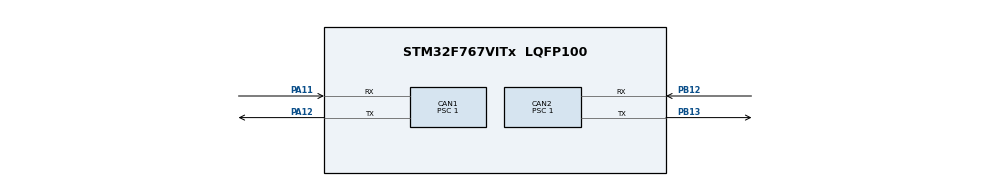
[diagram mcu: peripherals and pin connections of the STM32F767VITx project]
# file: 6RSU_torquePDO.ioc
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CAN1.BS1=CAN_BS1_14TQ
CAN1.CalculateBaudRate=1000000
CAN1.CalculateTimeBit=1000
CAN1.CalculateTimeQuantum=62.5
CAN1.Prescaler=1
CAN2.BS1=CAN_BS1_14TQ
CAN2.CalculateBaudRate=1000000
CAN2.CalculateTimeBit=1000
CAN2.CalculateTimeQuantum=62.5
CAN2.Prescaler=1
Mcu.Family=STM32F7
Mcu.Name=STM32F767VITx
Mcu.Package=LQFP100
NVIC.CAN1_RX0_IRQn=true\:0\:0\:false\:false\:true\:true\:true\:true
NVIC.CAN1_RX1_IRQn=true\:0\:0\:false\:false\:true\:true\:true\:true
NVIC.CAN1_SCE_IRQn=true\:0\:0\:false\:false\:true\:true\:true\:true
NVIC.CAN1_TX_IRQn=true\:0\:0\:false\:false\:true\:true\:true\:true
NVIC.CAN2_RX0_IRQn=true\:0\:0\:false\:false\:true\:true\:true\:true
NVIC.CAN2_RX1_IRQn=true\:0\:0\:false\:false\:true\:true\:true\:true
NVIC.CAN2_SCE_IRQn=true\:0\:0\:false\:false\:true\:true\:true\:true
NVIC.CAN2_TX_IRQn=true\:0\:0\:false\:false\:true\:true\:true\:true
NVIC.PriorityGroup=NVIC_PRIORITYGROUP_4
NVIC.TIM8_TRG_COM_TIM14_IRQn=true\:0\:0\:false\:false\:true\:true\:true\:true
PA11.Mode=CAN_Activate
PA11.Signal=CAN1_RX
PA12.Mode=CAN_Activate
PA12.Signal=CAN1_TX
PA13.Mode=Serial_Wire
PA13.Signal=SYS_JTMS-SWDIO
PA14.Mode=Serial_Wire
PA14.Signal=SYS_JTCK-SWCLK
PB12.Mode=CAN_Activate
PB12.Signal=CAN2_RX
PB13.Mode=CAN_Activate
PB13.Signal=CAN2_TX
PH0/OSC_IN.Mode=HSE-External-Oscillator
PH0/OSC_IN.Signal=RCC_OSC_IN
PH1/OSC_OUT.Mode=HSE-External-Oscillator
PH1/OSC_OUT.Signal=RCC_OSC_OUT
ProjectManager.HeapSize=0x200
ProjectManager.StackSize=0x400
ProjectManager.TargetToolchain=STM32CubeIDE
RCC.HSE_VALUE=25000000
RCC.HSI_VALUE=16000000
RCC.LSE_VALUE=32768
RCC.USBFreq_Value=96000000
RCC.VCOOutputFreq_Value=192000000
TIM14.Period=999
TIM14.Prescaler=15
VP_TIM14_VS_ClockSourceINT.Mode=Enable_Timer
board=custom

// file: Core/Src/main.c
/* USER CODE BEGIN Header */
/**
  ******************************************************************************
  * @file           : main.c
  * @brief          : Main program body
  ******************************************************************************
  * @attention
  *
  * Copyright (c) 2024 STMicroelectronics.
  * All rights reserved.
  *
  * This software is licensed under terms that can be found in the LICENSE file
  * in the root directory of this software component.
  * If no LICENSE file comes with this software, it is provided AS-IS.
  *
  ******************************************************************************
  */
/* USER CODE END Header */
#include "main.h"

/* USER CODE BEGIN Includes */
#include "CO_app_STM32.h"
#include "CANopen.h"
#include "../CANopenNode/301/CO_SDOclient.h"
#include "../CANopenNode/301/CO_NMT_Heartbeat.h"
#include "../CANopenNode/301/CO_PDO.h"
#include"OD.h"
#include"math.h"
/* USER CODE END Includes */

CAN_HandleTypeDef hcan1;
CAN_HandleTypeDef hcan2;

TIM_HandleTypeDef htim14;

void SystemClock_Config(void);
static void MPU_Initialize(void);
static void MPU_Config(void);
static void MX_GPIO_Init(void);
static void MX_CAN1_Init(void);
static void MX_CAN2_Init(void);
static void MX_TIM14_Init(void);

/* USER CODE BEGIN 0 */
CO_SDO_abortCode_t read_SDO(CO_SDOclient_t *SDO_C, uint8_t nodeId,
                            uint16_t index, uint8_t subIndex,
                            uint8_t *buf, size_t bufSize, size_t *readSize)
{
    CO_SDO_return_t SDO_ret;

    // setup client (this can be skipped, if remote device don't change)
    SDO_ret = CO_SDOclient_setup(SDO_C,
                                 CO_CAN_ID_SDO_CLI + nodeId,
                                 CO_CAN_ID_SDO_SRV + nodeId,
                                 nodeId);
    if (SDO_ret != CO_SDO_RT_ok_communicationEnd) {
        return CO_SDO_AB_GENERAL;
    }

    // initiate upload
    SDO_ret = CO_SDOclientUploadInitiate(SDO_C, index, subIndex, 1000, false);
    if (SDO_ret != CO_SDO_RT_ok_communicationEnd) {
        return CO_SDO_AB_GENERAL;
    }

    // upload data
    do {
        uint32_t timeDifference_us = 10000;
        CO_SDO_abortCode_t abortCode = CO_SDO_AB_NONE;

        SDO_ret = CO_SDOclientUpload(SDO_C,
                                     timeDifference_us,
                                     false,
                                     &abortCode,
                                     NULL, NULL, NULL);
        if (SDO_ret < 0) {
            return abortCode;
        }

        HAL_Delay(1);
    } while(SDO_ret > 0);

    // copy data to the user buffer (for long data function must be called
    // several times inside the loop)
    *readSize = CO_SDOclientUploadBufRead(SDO_C, buf, bufSize);

    return CO_SDO_AB_NONE;
}

CO_SDO_abortCode_t write_SDO(CO_SDOclient_t *SDO_C, uint8_t nodeId,
                             uint16_t index, uint8_t subIndex,
                             uint8_t *data, size_t dataSize)
{
    CO_SDO_return_t SDO_ret;
    bool_t bufferPartial = false;

    // setup client (this can be skipped, if remote device is the same)
    SDO_ret = CO_SDOclient_setup(SDO_C,
                                 CO_CAN_ID_SDO_CLI + nodeId,
                                 CO_CAN_ID_SDO_SRV + nodeId,
                                 nodeId);
    if (SDO_ret != CO_SDO_RT_ok_communicationEnd) {
        return -1;
    }

    // initiate download
    SDO_ret = CO_SDOclientDownloadInitiate(SDO_C, index, subIndex,
                                           dataSize, 1000, false);
    if (SDO_ret != CO_SDO_RT_ok_communicationEnd) {
        return -1;
    }

    // fill data
    size_t nWritten = CO_SDOclientDownloadBufWrite(SDO_C, data, dataSize);
    if (nWritten < dataSize) {
        bufferPartial = true;
        // If SDO Fifo buffer is too small, data can be refilled in the loop.
    }

    //download data
    do {
        uint32_t timeDifference_us = 10000;
        CO_SDO_abortCode_t abortCode = CO_SDO_AB_NONE;

        SDO_ret = CO_SDOclientDownload(SDO_C,
                                       timeDifference_us,
                                       false,
                                       bufferPartial,
                                       &abortCode,
                                       NULL, NULL);
        if (SDO_ret < 0) {
            return abortCode;
        }

        HAL_Delay(1);
    } while(SDO_ret > 0);

    return CO_SDO_AB_NONE;
}
/* USER CODE END 0 */

int main(void)
{

  /* MCU Configuration--------------------------------------------------------*/

  /* Reset of all peripherals, Initializes the Flash interface and the Systick. */
  HAL_Init();

  /* MPU Configuration--------------------------------------------------------*/
  MPU_Config();

  /* Configure the system clock */
  SystemClock_Config();

  /* Initialize all configured peripherals */
  MX_GPIO_Init();
  MX_CAN1_Init();
  MX_CAN2_Init();
  MX_TIM14_Init();
  /* USER CODE BEGIN 2 */
  CANopenNodeSTM32 canopenNodeSTM32;
     canopenNodeSTM32.CANHandle = &hcan2;
     canopenNodeSTM32.HWInitFunction = MX_CAN2_Init;
     canopenNodeSTM32.timerHandle = &htim14;
     canopenNodeSTM32.desiredNodeID = 7;
     canopenNodeSTM32.baudrate = 1000;
     canopen_app_init(&canopenNodeSTM32);

     uint16_t tmp1 = 0x80;
     uint16_t tmp2 = 0x00;
     uint16_t tmp3 = 0x06;
     uint16_t tmp4 = 0x07;
     uint16_t tmp5 = 0x0F;
//     uint16_t tmp6 = 0x1F;

     uint32_t r1;
     uint8_t r2;
     uint8_t r3;
     uint32_t r4;
     uint32_t rp4;
     uint8_t r5;
     uint32_t r6;
     int8_t torque_mode = 0x04;

       //control_word for node1(Gearbox1)...............................................................

        write_SDO(canopenNodeSTM32.canOpenStack->SDOclient , 1, 0x6040, 00, &tmp1, 2);
        HAL_Delay(10);
        write_SDO(canopenNodeSTM32.canOpenStack->SDOclient , 1, 0x6040, 00, &tmp2, 2);
        HAL_Delay(10);
        write_SDO(canopenNodeSTM32.canOpenStack->SDOclient , 1, 0x6040, 00, &tmp3, 2);
        HAL_Delay(10);
        write_SDO(canopenNodeSTM32.canOpenStack->SDOclient , 1, 0x6040, 00, &tmp4, 2);
        HAL_Delay(10);
        write_SDO(canopenNodeSTM32.canOpenStack->SDOclient , 1, 0x6040, 00, &tmp5, 2);

        write_SDO(canopenNodeSTM32.canOpenStack->SDOclient , 1, 0x6060, 00, &torque_mode, 1);
        HAL_Delay(10);

        //control_word for node2(Gearbox2)...............................................................

         write_SDO(canopenNodeSTM32.canOpenStack->SDOclient , 2, 0x6040, 00, &tmp1, 2);
         HAL_Delay(10);
         write_SDO(canopenNodeSTM32.canOpenStack->SDOclient , 2, 0x6040, 00, &tmp2, 2);
         HAL_Delay(10);
         write_SDO(canopenNodeSTM32.canOpenStack->SDOclient , 2, 0x6040, 00, &tmp3, 2);
         HAL_Delay(10);
         write_SDO(canopenNodeSTM32.canOpenStack->SDOclient , 2, 0x6040, 00, &tmp4, 2);
         HAL_Delay(10);
         write_SDO(canopenNodeSTM32.canOpenStack->SDOclient , 2, 0x6040, 00, &tmp5, 2);
         HAL_Delay(10);

         write_SDO(canopenNodeSTM32.canOpenStack->SDOclient , 2, 0x6060, 00, &torque_mode, 1);

         //control_word for node3(Gearbox3)...............................................................

         write_SDO(canopenNodeSTM32.canOpenStack->SDOclient , 3, 0x6040, 00, &tmp1, 2);
         HAL_Delay(10);
         write_SDO(canopenNodeSTM32.canOpenStack->SDOclient , 3, 0x6040, 00, &tmp2, 2);
         HAL_Delay(10);
         write_SDO(canopenNodeSTM32.canOpenStack->SDOclient , 3, 0x6040, 00, &tmp3, 2);
         HAL_Delay(10);
         write_SDO(canopenNodeSTM32.canOpenStack->SDOclient , 3, 0x6040, 00, &tmp4, 2);
         HAL_Delay(10);
         write_SDO(canopenNodeSTM32.canOpenStack->SDOclient , 3, 0x6040, 00, &tmp5, 2);
         HAL_Delay(10);

         write_SDO(canopenNodeSTM32.canOpenStack->SDOclient , 3, 0x6060, 00, &torque_mode, 1);

         //control_word for node4(Gearbox4)...............................................................

         write_SDO(canopenNodeSTM32.canOpenStack->SDOclient , 4, 0x6040, 00, &tmp1, 2);
         HAL_Delay(10);
         write_SDO(canopenNodeSTM32.canOpenStack->SDOclient , 4, 0x6040, 00, &tmp2, 2);
         HAL_Delay(10);
         write_SDO(canopenNodeSTM32.canOpenStack->SDOclient , 4, 0x6040, 00, &tmp3, 2);
         HAL_Delay(10);
         write_SDO(canopenNodeSTM32.canOpenStack->SDOclient , 4, 0x6040, 00, &tmp4, 2);
         HAL_Delay(10);
         write_SDO(canopenNodeSTM32.canOpenStack->SDOclient , 4, 0x6040, 00, &tmp5, 2);
         HAL_Delay(10);

         write_SDO(canopenNodeSTM32.canOpenStack->SDOclient , 4, 0x6060, 00, &torque_mode, 1);

         //control_word for node5(Gearbox5)...............................................................

         write_SDO(canopenNodeSTM32.canOpenStack->SDOclient , 5, 0x6040, 00, &tmp1, 2);
         HAL_Delay(10);
         write_SDO(canopenNodeSTM32.canOpenStack->SDOclient , 5, 0x6040, 00, &tmp2, 2);
         HAL_Delay(10);
         write_SDO(canopenNodeSTM32.canOpenStack->SDOclient , 5, 0x6040, 00, &tmp3, 2);
         HAL_Delay(10);
         write_SDO(canopenNodeSTM32.canOpenStack->SDOclient , 5, 0x6040, 00, &tmp4, 2);
         HAL_Delay(10);
         write_SDO(canopenNodeSTM32.canOpenStack->SDOclient , 5, 0x6040, 00, &tmp5, 2);
         HAL_Delay(10);

         write_SDO(canopenNodeSTM32.canOpenStack->SDOclient , 5, 0x6060, 00, &torque_mode, 1);

         //control_word for node6(Gearbox6)...............................................................

         write_SDO(canopenNodeSTM32.canOpenStack->SDOclient , 6, 0x6040, 00, &tmp1, 2);
         HAL_Delay(10);
         write_SDO(canopenNodeSTM32.canOpenStack->SDOclient , 6, 0x6040, 00, &tmp2, 2);
         HAL_Delay(10);
         write_SDO(canopenNodeSTM32.canOpenStack->SDOclient , 6, 0x6040, 00, &tmp3, 2);
         HAL_Delay(10);
         write_SDO(canopenNodeSTM32.canOpenStack->SDOclient , 6, 0x6040, 00, &tmp4, 2);
         HAL_Delay(10);
         write_SDO(canopenNodeSTM32.canOpenStack->SDOclient , 6, 0x6040, 00, &tmp5, 2);
         HAL_Delay(10);

         write_SDO(canopenNodeSTM32.canOpenStack->SDOclient , 6, 0x6060, 00, &torque_mode, 1);

//TPDO for node1(Gearbox1)......................................................................................

        uint32_t CW1 ;
        uint8_t CW2 ;
        uint8_t CW3 ;
     	uint32_t CW4 ;
     	uint8_t CW5 ;
     	uint32_t CW6 ;

     	 CW1 = 0x80000201;
         write_SDO(canopenNodeSTM32.canOpenStack->SDOclient , 1, 0x1400, 0x01, &CW1, 4);
         HAL_Delay(10);

         CW2 = 0xFF;
         write_SDO(canopenNodeSTM32.canOpenStack->SDOclient , 1, 0x1400, 0x02, &CW2, 1);
         HAL_Delay(10);

         CW3 = 0x00;
         write_SDO(canopenNodeSTM32.canOpenStack->SDOclient , 1, 0x1600, 0x00, &CW3, 1);
         HAL_Delay(10);

         CW4 = 0x60710010;
         write_SDO(canopenNodeSTM32.canOpenStack->SDOclient , 1, 0x1600, 0x01, &CW4, 4);
         HAL_Delay(10);

         CW5 = 1;
         write_SDO(canopenNodeSTM32.canOpenStack->SDOclient , 1, 0x1600, 0x00, &CW5, 1);
         HAL_Delay(10);

         CW6 = 0x201;
         write_SDO(canopenNodeSTM32.canOpenStack->SDOclient , 1, 0x1400, 0x01, &CW6, 4);
         HAL_Delay(10);

//TPDO for node2(Gearbox2)....................................................................................

     	 CW1 = 0x80000202;
         write_SDO(canopenNodeSTM32.canOpenStack->SDOclient , 2, 0x1400, 0x01, &CW1, 4);
         HAL_Delay(10);

         CW2 = 0xFF;
         write_SDO(canopenNodeSTM32.canOpenStack->SDOclient , 2, 0x1400, 0x02, &CW2, 1);
         HAL_Delay(10);

         CW3 = 0x00;
         write_SDO(canopenNodeSTM32.canOpenStack->SDOclient , 2, 0x1600, 0x00, &CW3, 1);
         HAL_Delay(10);

         CW4 = 0x60710010;
         write_SDO(canopenNodeSTM32.canOpenStack->SDOclient , 2, 0x1600, 0x01, &CW4, 4);
         HAL_Delay(10);

         CW5 = 1;
         write_SDO(canopenNodeSTM32.canOpenStack->SDOclient , 2, 0x1600, 0x00, &CW5, 1);
         HAL_Delay(10);

         CW6 = 0x202;
         write_SDO(canopenNodeSTM32.canOpenStack->SDOclient , 2, 0x1400, 0x01, &CW6, 4);
         HAL_Delay(10);

//TPDO for node3(Gearbox3)................................................................................
     	 CW1 = 0x80000203;
         write_SDO(canopenNodeSTM32.canOpenStack->SDOclient , 3, 0x1400, 0x01, &CW1, 4);
         HAL_Delay(10);

         CW2 = 0xFF;
         write_SDO(canopenNodeSTM32.canOpenStack->SDOclient , 3, 0x1400, 0x02, &CW2, 1);
         HAL_Delay(10);

         CW3 = 0x00;
         write_SDO(canopenNodeSTM32.canOpenStack->SDOclient , 3, 0x1600, 0x00, &CW3, 1);
         HAL_Delay(10);

         CW4 = 0x60710010;
         write_SDO(canopenNodeSTM32.canOpenStack->SDOclient , 3, 0x1600, 0x01, &CW4, 4);
         HAL_Delay(10);

         CW5 = 1;
         write_SDO(canopenNodeSTM32.canOpenStack->SDOclient , 3, 0x1600, 0x00, &CW5, 1);
         HAL_Delay(10);

         CW6 = 0x203;
         write_SDO(canopenNodeSTM32.canOpenStack->SDOclient , 3, 0x1400, 0x01, &CW6, 4);
         HAL_Delay(10);

//TPDO for node4(Gearbox4).........................................................................

     	 CW1 = 0x80000204;
         write_SDO(canopenNodeSTM32.canOpenStack->SDOclient , 4, 0x1400, 0x01, &CW1, 4);
         HAL_Delay(10);

         CW2 = 0xFF;
         write_SDO(canopenNodeSTM32.canOpenStack->SDOclient , 4, 0x1400, 0x02, &CW2, 1);
         HAL_Delay(10);

         CW3 = 0x00;
         write_SDO(canopenNodeSTM32.canOpenStack->SDOclient , 4, 0x1600, 0x00, &CW3, 1);
         HAL_Delay(10);

         CW4 = 0x60710010;
         write_SDO(canopenNodeSTM32.canOpenStack->SDOclient , 4, 0x1600, 0x01, &CW4, 4);
         HAL_Delay(10);

         CW5 = 1;
         write_SDO(canopenNodeSTM32.canOpenStack->SDOclient , 4, 0x1600, 0x00, &CW5, 1);
         HAL_Delay(10);

         CW6 = 0x204;
         write_SDO(canopenNodeSTM32.canOpenStack->SDOclient , 4, 0x1400, 0x01, &CW6, 4);
         HAL_Delay(10);

//TPDO for node5(Gearbox5)..................................................................................

     	 CW1 = 0x80000205;
         write_SDO(canopenNodeSTM32.canOpenStack->SDOclient , 5, 0x1400, 0x01, &CW1, 4);
         HAL_Delay(10);

         CW2 = 0xFF;
         write_SDO(canopenNodeSTM32.canOpenStack->SDOclient , 5, 0x1400, 0x02, &CW2, 1);
         HAL_Delay(10);

         CW3 = 0x00;
         write_SDO(canopenNodeSTM32.canOpenStack->SDOclient , 5, 0x1600, 0x00, &CW3, 1);
         HAL_Delay(10);

         CW4 = 0x60710010;
         write_SDO(canopenNodeSTM32.canOpenStack->SDOclient , 5, 0x1600, 0x01, &CW4, 4);
         HAL_Delay(10);

         CW5 = 1;
         write_SDO(canopenNodeSTM32.canOpenStack->SDOclient , 5, 0x1600, 0x00, &CW5, 1);
         HAL_Delay(10);

         CW6 = 0x205;
         write_SDO(canopenNodeSTM32.canOpenStack->SDOclient , 5, 0x1400, 0x01, &CW6, 4);
         HAL_Delay(10);

//TPDO for node6(Gearbox6)..............................................................................

     	 CW1 = 0x80000206;
         write_SDO(canopenNodeSTM32.canOpenStack->SDOclient , 6, 0x1400, 0x01, &CW1, 4);
         HAL_Delay(10);

         CW2 = 0xFF;
         write_SDO(canopenNodeSTM32.canOpenStack->SDOclient , 6, 0x1400, 0x02, &CW2, 1);
         HAL_Delay(10);

         CW3 = 0x00;
         write_SDO(canopenNodeSTM32.canOpenStack->SDOclient , 6, 0x1600, 0x00, &CW3, 1);
         HAL_Delay(10);

         CW4 = 0x60710010;
         write_SDO(canopenNodeSTM32.canOpenStack->SDOclient , 6, 0x1600, 0x01, &CW4, 4);
         HAL_Delay(10);

         CW5 = 1;
         write_SDO(canopenNodeSTM32.canOpenStack->SDOclient , 6, 0x1600, 0x00, &CW5, 1);
         HAL_Delay(10);

         CW6 = 0x206;
         write_SDO(canopenNodeSTM32.canOpenStack->SDOclient , 6, 0x1400, 0x01, &CW6, 4);
         HAL_Delay(10);

//operational 6 nodes...........................................................................................................................

         CO_NMT_command_t CO_NMT_OPERATIONAL;
         CO_NMT_sendCommand(canopenNodeSTM32.canOpenStack->NMT, CO_NMT_ENTER_OPERATIONAL, 1);
         CO_NMT_sendCommand(canopenNodeSTM32.canOpenStack->NMT, CO_NMT_ENTER_OPERATIONAL, 2);
         CO_NMT_sendCommand(canopenNodeSTM32.canOpenStack->NMT, CO_NMT_ENTER_OPERATIONAL, 3);
         CO_NMT_sendCommand(canopenNodeSTM32.canOpenStack->NMT, CO_NMT_ENTER_OPERATIONAL, 4);
         CO_NMT_sendCommand(canopenNodeSTM32.canOpenStack->NMT, CO_NMT_ENTER_OPERATIONAL, 5);
         CO_NMT_sendCommand(canopenNodeSTM32.canOpenStack->NMT, CO_NMT_ENTER_OPERATIONAL, 6);

  /* USER CODE END 2 */

  /* Infinite loop */
  /* USER CODE BEGIN WHILE */
  while (1)
  {
	  OD_PERSIST_COMM.x6071_targettorque1 = 400;
	  OD_PERSIST_COMM.x6072_targettorque2 = 400;
	  OD_PERSIST_COMM.x6073_targettorque3 = 400;
	  OD_PERSIST_COMM.x6074_targettorque4 = 400;
	  OD_PERSIST_COMM.x6075_targettorque5 = 400;
	  OD_PERSIST_COMM.x6076_targettorque6 = 400;

	  canopen_app_process();

    /* USER CODE END WHILE */

  }
}

void SystemClock_Config(void)
{
  RCC_OscInitTypeDef RCC_OscInitStruct = {0};
  RCC_ClkInitTypeDef RCC_ClkInitStruct = {0};

  /** Configure the main internal regulator output voltage
  */
  __HAL_RCC_PWR_CLK_ENABLE();
  __HAL_PWR_VOLTAGESCALING_CONFIG(PWR_REGULATOR_VOLTAGE_SCALE3);

  /** Initializes the RCC Oscillators according to the specified parameters
  * in the RCC_OscInitTypeDef structure.
  */
  RCC_OscInitStruct.OscillatorType = RCC_OSCILLATORTYPE_HSI;
  RCC_OscInitStruct.HSIState = RCC_HSI_ON;
  RCC_OscInitStruct.HSICalibrationValue = RCC_HSICALIBRATION_DEFAULT;
  RCC_OscInitStruct.PLL.PLLState = RCC_PLL_NONE;
  if (HAL_RCC_OscConfig(&RCC_OscInitStruct) != HAL_OK)
  {
    Error_Handler();
  }

  /** Initializes the CPU, AHB and APB buses clocks
  */
  RCC_ClkInitStruct.ClockType = RCC_CLOCKTYPE_HCLK|RCC_CLOCKTYPE_SYSCLK
                              |RCC_CLOCKTYPE_PCLK1|RCC_CLOCKTYPE_PCLK2;
  RCC_ClkInitStruct.SYSCLKSource = RCC_SYSCLKSOURCE_HSI;
  RCC_ClkInitStruct.AHBCLKDivider = RCC_SYSCLK_DIV1;
  RCC_ClkInitStruct.APB1CLKDivider = RCC_HCLK_DIV1;
  RCC_ClkInitStruct.APB2CLKDivider = RCC_HCLK_DIV1;

  if (HAL_RCC_ClockConfig(&RCC_ClkInitStruct, FLASH_LATENCY_0) != HAL_OK)
  {
    Error_Handler();
  }
}

static void MX_CAN1_Init(void)
{

  hcan1.Instance = CAN1;
  hcan1.Init.Prescaler = 1;
  hcan1.Init.Mode = CAN_MODE_NORMAL;
  hcan1.Init.SyncJumpWidth = CAN_SJW_1TQ;
  hcan1.Init.TimeSeg1 = CAN_BS1_14TQ;
  hcan1.Init.TimeSeg2 = CAN_BS2_1TQ;
  hcan1.Init.TimeTriggeredMode = DISABLE;
  hcan1.Init.AutoBusOff = DISABLE;
  hcan1.Init.AutoWakeUp = DISABLE;
  hcan1.Init.AutoRetransmission = DISABLE;
  hcan1.Init.ReceiveFifoLocked = DISABLE;
  hcan1.Init.TransmitFifoPriority = DISABLE;
  if (HAL_CAN_Init(&hcan1) != HAL_OK)
  {
    Error_Handler();
  }

}

static void MX_CAN2_Init(void)
{

  hcan2.Instance = CAN2;
  hcan2.Init.Prescaler = 1;
  hcan2.Init.Mode = CAN_MODE_NORMAL;
  hcan2.Init.SyncJumpWidth = CAN_SJW_1TQ;
  hcan2.Init.TimeSeg1 = CAN_BS1_14TQ;
  hcan2.Init.TimeSeg2 = CAN_BS2_1TQ;
  hcan2.Init.TimeTriggeredMode = DISABLE;
  hcan2.Init.AutoBusOff = DISABLE;
  hcan2.Init.AutoWakeUp = DISABLE;
  hcan2.Init.AutoRetransmission = DISABLE;
  hcan2.Init.ReceiveFifoLocked = DISABLE;
  hcan2.Init.TransmitFifoPriority = DISABLE;
  if (HAL_CAN_Init(&hcan2) != HAL_OK)
  {
    Error_Handler();
  }

}

static void MX_TIM14_Init(void)
{

  htim14.Instance = TIM14;
  htim14.Init.Prescaler = 15;
  htim14.Init.CounterMode = TIM_COUNTERMODE_UP;
  htim14.Init.Period = 999;
  htim14.Init.ClockDivision = TIM_CLOCKDIVISION_DIV1;
  htim14.Init.AutoReloadPreload = TIM_AUTORELOAD_PRELOAD_DISABLE;
  if (HAL_TIM_Base_Init(&htim14) != HAL_OK)
  {
    Error_Handler();
  }

}

static void MX_GPIO_Init(void)
{

  /* GPIO Ports Clock Enable */
  __HAL_RCC_GPIOH_CLK_ENABLE();
  __HAL_RCC_GPIOB_CLK_ENABLE();
  __HAL_RCC_GPIOA_CLK_ENABLE();

}

/* MPU Configuration */

void MPU_Config(void)
{
  MPU_Region_InitTypeDef MPU_InitStruct = {0};

  /* Disables the MPU */
  HAL_MPU_Disable();

  /** Initializes and configures the Region and the memory to be protected
  */
  MPU_InitStruct.Enable = MPU_REGION_ENABLE;
  MPU_InitStruct.Number = MPU_REGION_NUMBER0;
  MPU_InitStruct.BaseAddress = 0x0;
  MPU_InitStruct.Size = MPU_REGION_SIZE_4GB;
  MPU_InitStruct.SubRegionDisable = 0x87;
  MPU_InitStruct.TypeExtField = MPU_TEX_LEVEL0;
  MPU_InitStruct.AccessPermission = MPU_REGION_NO_ACCESS;
  MPU_InitStruct.DisableExec = MPU_INSTRUCTION_ACCESS_DISABLE;
  MPU_InitStruct.IsShareable = MPU_ACCESS_SHAREABLE;
  MPU_InitStruct.IsCacheable = MPU_ACCESS_NOT_CACHEABLE;
  MPU_InitStruct.IsBufferable = MPU_ACCESS_NOT_BUFFERABLE;

  HAL_MPU_ConfigRegion(&MPU_InitStruct);
  /* Enables the MPU */
  HAL_MPU_Enable(MPU_PRIVILEGED_DEFAULT);

}

void Error_Handler(void)
{
  __disable_irq();
  while (1)
  {
  }
}
